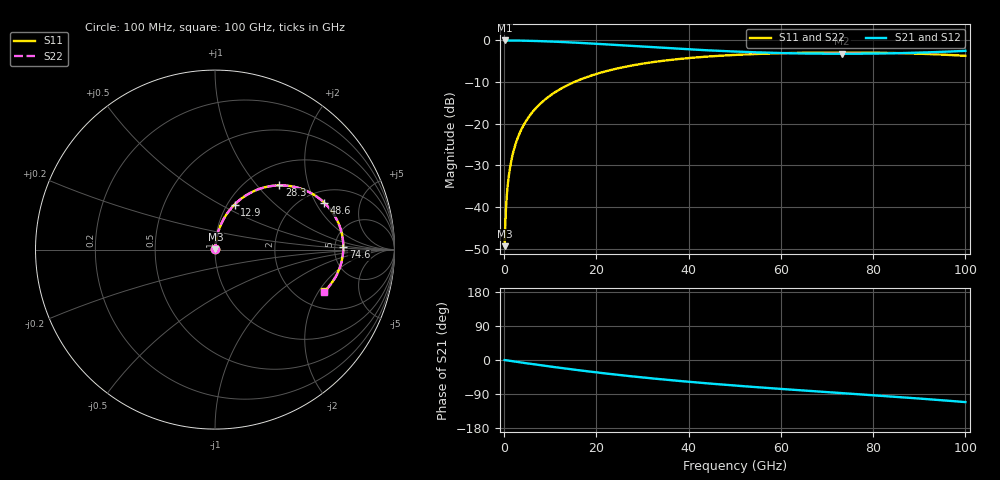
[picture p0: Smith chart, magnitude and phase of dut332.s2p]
! Touchstone file exported from HFSS 2026.1.0
!  File:  C:/ffzhzh/LocalFiles/Ansys_Project_Files/temp_train_RDL_332_1783502903_44152.aedt
!  Generated:  05:29:46 PM Jul  8, 2026
!  Design:  RDL
!  Project:  temp_train_RDL_332_1783502903_44152
! Variables:
!  h_bsmrdl = 2um
!  h_ox = 20um
!  h_rdl = 5um
!  h_sub = 80um
!  h_tmrdl = 4.44um
!  h_tsv = 80um
!  h_via = 3um
!  l_bsmrdl = 300um
!  l_sub = 781.75um
!  l_tmrdl = 381.75um
!  m_sub = 200um
!  pitch = 57.95um
!  r_tsv = 6um
!  s_tmrdl = 10um
!  w_bsmrdl = 18um
!  w_sub = 500um
!  w_tmrdl = 13.19um
!  x_tsv_center1 = 388.345um
!  x_tsv_center2 = 706.345um
!  x_tsv_center3 = 1101.285um
!  x_tsv_center4 = 1419.285um
!  x_tsv_center5 = 1814.225um
!  x_tsv_center6 = 2132.225um
# GHz S MA R 50.000000
! Terminal data exported
! Port[1] = TM_RDL1_1_T1
! Port[2] = TM_RDL1_1_T2
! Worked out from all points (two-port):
!   1000 points, 100 MHz to 100 GHz, reference 50 ohm
!   highest |S21| = -0.02 dB at 100 MHz (marker M1); lowest = -3.2 dB at 73.3 GHz (marker M2)
!   |S21| within 3 dB of the highest: start of sweep to 59.19 GHz; 87.42 GHz to end of sweep
!   lowest |S11| = -49.4 dB at 100 MHz (marker M3), VSWR 1.01, Z = 50.2 + j0.239 ohm
!   |S11| at or under -10 dB: start of sweep to 15.22 GHz
!   |S22| runs from -49.4 to -2.9 dB; largest |S21 - S12| = 1.3e-14
!   S11 on the Smith chart (normalised r, x): 100 MHz: 1.00, +0.00; 12.9 GHz: 1.08, +0.59; 28.3 GHz: 1.38, +1.32; 48.6 GHz: 2.54, +2.36; 74.6 GHz: 6.00, +0.33; 100 GHz: 2.77, -2.25
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0.1  0.003376 44.7  0.9976 -0.2  0.9976 -0.2  0.003376 44.7
! Gamma 0 0 0 0
! Port Impedance 50 0 50 0
0.4  0.009716 74.2  0.9974 -0.7  0.9974 -0.7  0.009716 74.2
0.8  0.01877 80.3  0.9971 -1.4  0.9971 -1.4  0.01877 80.3
1.2  0.02786 82.0  0.9968 -2.1  0.9968 -2.1  0.02786 82.0
1.6  0.03697 82.6  0.9964 -2.9  0.9964 -2.9  0.03697 82.6
2  0.04606 82.6  0.9959 -3.6  0.9959 -3.6  0.04606 82.6
3.2  0.07315 81.5  0.9937 -5.7  0.9937 -5.7  0.07315 81.5
4.9  0.1108 79.1  0.9894 -8.6  0.9894 -8.6  0.1108 79.1
7  0.156 75.8  0.9823 -12.2  0.9823 -12.2  0.156 75.7
9.7  0.2117 71.5  0.9707 -16.7  0.9707 -16.7  0.2117 71.5
12.9  0.2739 66.5  0.9542 -21.9  0.9542 -21.9  0.2739 66.5
16.8  0.3435 60.6  0.9307 -28.0  0.9307 -28.0  0.3435 60.6
22.1  0.4264 53.1  0.8954 -35.7  0.8954 -35.7  0.4264 53.1
28.3  0.5062 45.0  0.8528 -43.9  0.8528 -43.9  0.5062 45.0
33.4  0.5591 38.9  0.8194 -50.1  0.8194 -50.1  0.5591 38.9
48.6  0.6624 23.2  0.7398 -66.1  0.7398 -66.1  0.6624 23.2
50.1  0.6691 21.8  0.7339 -67.5  0.7339 -67.5  0.6691 21.8
66.7  0.7118 7.5  0.6937 -82.0  0.6937 -82.0  0.7118 7.4
73.3  0.7153 2.1  0.6902 -87.5  0.6902 -87.5  0.7153 2.0
74.6  0.7151 1.1  0.6903 -88.6  0.6903 -88.6  0.7152 1.0
83.4  0.7069 -6.2  0.6984 -96.0  0.6984 -96.0  0.7069 -6.3
100  0.6517 -21.0  0.7481 -111.1  0.7481 -111.1  0.6517 -21.2
